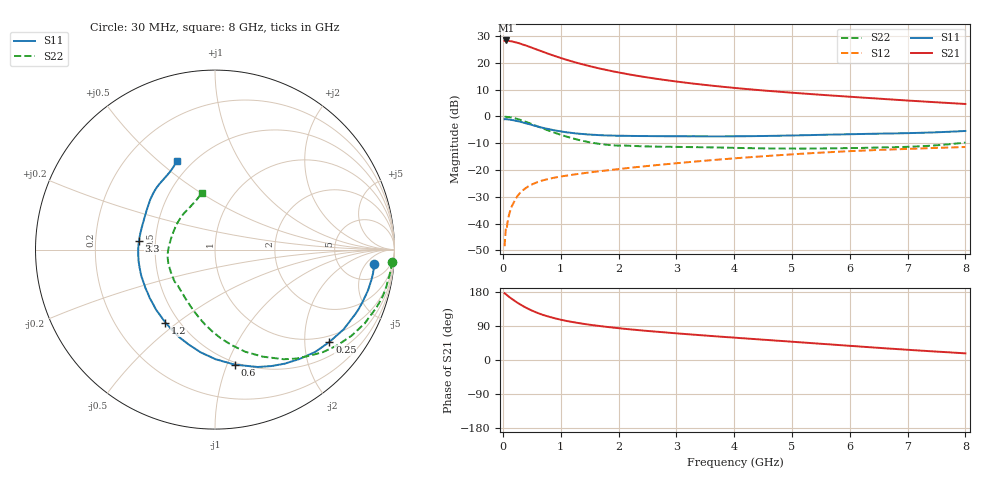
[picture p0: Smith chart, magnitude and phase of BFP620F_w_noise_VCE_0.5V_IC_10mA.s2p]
! Infineon Technologies  Discrete & RF Semiconductors
! BFP620F
! VCE =  0.5 V,  IC =  10 mA
! Common Emitter S-Parameters:  Dec 2014
# GHz  S  MA  R  50
!  f  S11  S21  S12  S22
! GHz  MAG  ANG  MAG  ANG  MAG  ANG  MAG  ANG
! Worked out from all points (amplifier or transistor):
!   95 points, 30 MHz to 8 GHz, reference 50 ohm
!   highest |S21| = 28.4 dB at 60 MHz (marker M1)
!   |S21| within 3 dB of that: start of sweep to 539.1 MHz
!   unconditionally stable (mu >= 1): 3.873 GHz to end of sweep
!   at 300 MHz: K = 0.16, MSG = 27.8 dB, |S12| = -28.5 dB
!   at 3.3 GHz: K = 0.97, MSG = 14.6 dB, |S12| = -16.9 dB
!   at 8 GHz: K = 1.10, MAG = 6.2 dB, |S12| = -11.4 dB
!   lowest NFmin = 0.60 dB at 450 MHz
!   S11 on the Smith chart (normalised r, x): 30 MHz: 11, -8; 250 MHz: 0.83, -2.60; 600 MHz: 0.48, -1.06; 1.2 GHz: 0.42, -0.45; 3.3 GHz: 0.40, +0.05; 8 GHz: 0.42, +0.57
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0.03  0.8892 -5.2  25.82 176.2  0.0038 89.0  0.9857 -3.9
0.06  0.8886 -10.1  26.2 172.6  0.0089 84.8  0.9836 -7.9
0.09  0.8825 -14.7  26 168.8  0.0117 82.8  0.9774 -11.9
0.14  0.8656 -22.8  25.26 162.9  0.0194 80.0  0.9595 -18.6
0.25  0.8193 -38.9  23.73 151.3  0.0326 71.1  0.8996 -32.2
0.3  0.7981 -45.6  22.88 146.7  0.0377 67.3  0.8658 -38.0
0.4  0.7446 -58.6  21.07 138.0  0.0464 62.1  0.7905 -48.5
0.5  0.696 -70.0  19.23 130.6  0.0538 57.6  0.7211 -57.9
0.6  0.6502 -80.3  17.55 124.2  0.0597 54.4  0.6528 -66.0
0.7  0.6107 -89.7  16 118.6  0.0647 51.6  0.5935 -73.5
0.9  0.5494 -105.3  13.41 110.0  0.0725 47.9  0.4951 -86.3
1.1  0.5063 -118.4  11.42 103.1  0.0787 46.0  0.4214 -97.5
1.2  0.4922 -124.1  10.61 100.3  0.0817 45.6  0.3926 -102.6
1.4  0.4691 -134.4  9.266 95.3  0.0875 44.8  0.3472 -112.5
1.7  0.4463 -147.1  7.735 89.2  0.0959 44.3  0.3044 -126.3
2  0.4369 -157.4  6.638 84.0  0.1042 43.8  0.2855 -138.4
2.7  0.4289 -175.0  4.97 74.2  0.1249 42.5  0.273 -157.7
3.3  0.4266 173.5  4.097 66.9  0.1434 40.8  0.2678 -169.0
4.1  0.4273 160.5  3.338 57.9  0.1684 37.7  0.2584 177.7
5.4  0.4516 144.0  2.585 43.9  0.2084 30.5  0.2525 154.3
6.7  0.4815 128.5  2.082 30.0  0.2416 21.7  0.2661 129.9
8  0.5366 113.4  1.711 17.5  0.2691 13.0  0.3251 102.6
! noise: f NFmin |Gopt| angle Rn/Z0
0.45  0.6  0.26  8  0.22
0.9  0.67  0.25  19  0.19
1.5  0.73  0.24  21  0.15
1.8  0.75  0.22  24  0.13
1.9  0.76  0.18  38  0.15
2.4  0.81  0.15  54  0.13
3.5  0.91  0.14  75  0.12
5.5  1.08  0.11  178  0.1
6  1.12  0.1  207  0.16
